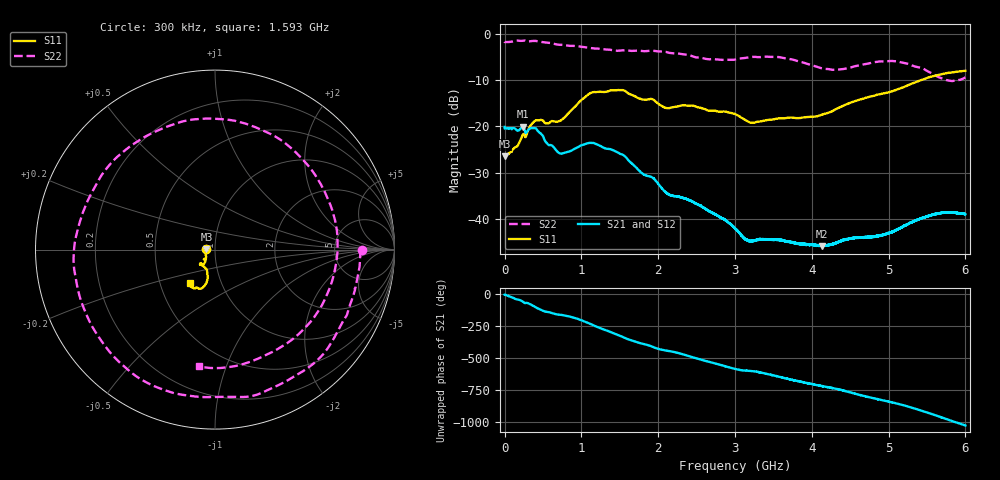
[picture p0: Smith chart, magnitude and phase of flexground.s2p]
!  8/6/2020  01:21:35
! Ref Plane: 0.000 mm
# MHZ S MA R  50
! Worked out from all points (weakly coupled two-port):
!   10001 points, 300 kHz to 6 GHz, reference 50 ohm
!   highest |S21| = -20.03 dB at 240.3 MHz (marker M1); lowest = -45.8 dB at 4.134 GHz (marker M2)
!   lowest |S11| = -26.4 dB at 900 kHz (marker M3), VSWR 1.10, Z = 45.4 + j0.0804 ohm
!   |S11| at or under -10 dB: start of sweep to 5.427 GHz
!   |S22| runs from -10.2 to -1.5 dB; largest |S21 - S12| = 0.0022
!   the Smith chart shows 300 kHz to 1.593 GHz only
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0.3  0.04797 178.3  0.09881 -1.1  0.09662 -0.9  0.8166 -0.3
0.9  0.04769 178.9  0.09491 -0.5  0.09538 -0.3  0.8102 -0.5
240.288  0.08214 -136.3  0.09968 -57.0  0.09964 -57.0  0.8357 -69.0
395.6802  0.1147 -131.9  0.09587 -96.5  0.09589 -96.5  0.8328 -115.9
600.27  0.1128 -127.2  0.06305 -141.8  0.06315 -141.8  0.7909 -175.1
1000.45  0.1925 -104.5  0.0626 158.8  0.06266 158.8  0.7195 73.3
1256.037  0.2361 -116.1  0.06107 93.5  0.06112 93.5  0.6819 -1.6
1541.623  0.2459 -124.0  0.04944 26.6  0.04949 26.5  0.6591 -84.0
1786.411  0.1953 -123.3  0.03149 -24.2  0.03151 -24.1  0.6495 -150.5
2000.6  0.1759 -123.0  0.02415 -65.4  0.02415 -65.4  0.6425 153.2
2260.387  0.1651 -105.6  0.01756 -98.0  0.01759 -98.1  0.6104 85.0
2541.173  0.1593 -101.9  0.01412 -146.8  0.01418 -147.2  0.5503 6.4
2781.761  0.1444 -92.0  0.01084 173.4  0.01084 173.4  0.5242 -65.9
3000.15  0.1357 -86.6  0.007956 137.3  0.008024 137.6  0.5242 -131.1
3235.938  0.1097 -70.1  0.005864 119.5  0.005847 119.5  0.5604 165.1
3520.324  0.1202 -49.9  0.006035 84.7  0.006021 84.1  0.5594 94.4
4000.3  0.127 -22.4  0.005327 18.9  0.005352 19.4  0.4548 -30.4
4134.093  0.1338 -12.4  0.005146 2.6  0.005201 2.0  0.4209 -71.0
4521.674  0.1823 6.4  0.006218 -49.9  0.006241 -49.9  0.4347 167.2
5000.45  0.2328 18.5  0.007102 -118.8  0.007096 -118.5  0.5043 46.8
5506.825  0.3336 26.2  0.01081 155.2  0.01085 155.2  0.3936 -75.2
6000  0.3966 19.9  0.01134 54.8  0.01138 54.7  0.3372 121.3
